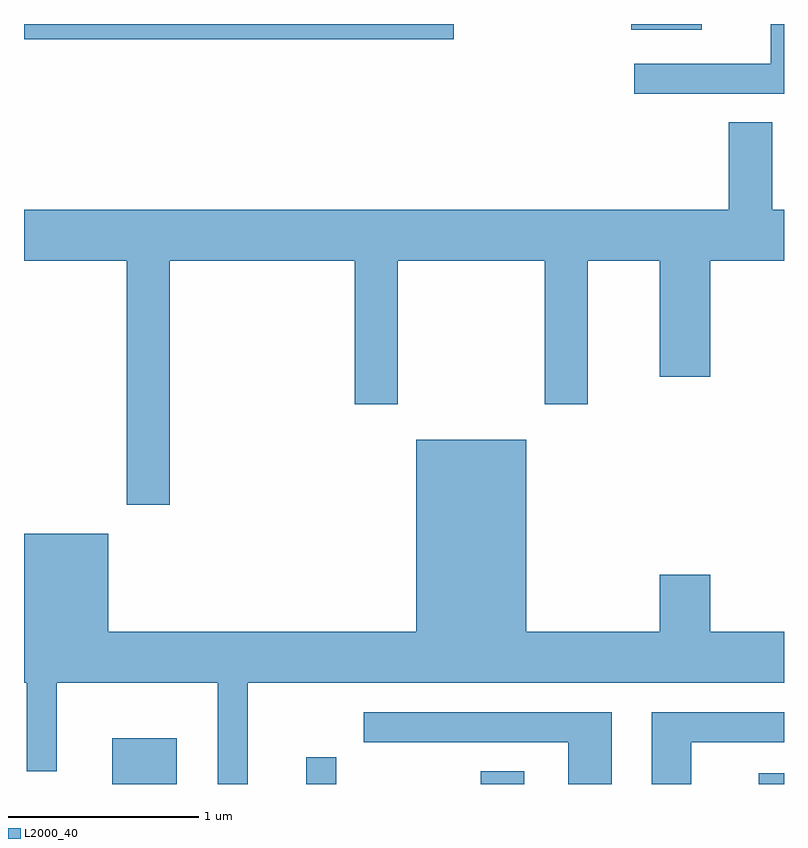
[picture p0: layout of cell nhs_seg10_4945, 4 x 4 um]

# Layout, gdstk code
import gdstk
lib = gdstk.Library(unit=1e-6, precision=1e-09)
def R(c, l, rs):  # rectangles x0, y0, x1, y1
    for r in rs: c.add(gdstk.rectangle(r[:2], r[2:], *l))
def P(c, l, *ps):  # polygons
    for p in ps: c.add(gdstk.Polygon(p, *l))
L2000_40 = (2000, 40)

nhs_seg10_4945 = lib.new_cell('nhs_seg10_4945')
R(nhs_seg10_4945, L2000_40, [(332.076,2084.522,332.414,2084.764), (333.096,2084.522,333.254,2084.663), (334.016,2084.522,334.244,2084.589), (335.478,2084.522,335.611,2084.579), (331.611,2088.441,333.874,2088.522), (334.806,2088.491,335.179,2088.522)])
P(nhs_seg10_4945, L2000_40, [(335.611,2088.522),(335.541,2088.522),(335.541,2088.314),(334.823,2088.314),(334.823,2088.156),(335.611,2088.156)],
  [(332.379,2087.276),(333.351,2087.276),(333.351,2086.521),(333.579,2086.521),(333.579,2087.276),(334.351,2087.276),(334.351,2086.521),(334.579,2086.521),(334.579,2087.276),(334.956,2087.276),(334.956,2086.666),(335.224,2086.666),(335.224,2087.276),(335.611,2087.276),(335.611,2087.544),(335.549,2087.544),(335.549,2088.004),(335.321,2088.004),(335.321,2087.544),(331.611,2087.544),(331.611,2087.276),(332.151,2087.276),(332.151,2085.991),(332.379,2085.991)],
  [(331.611,2085.056),(331.626,2085.056),(331.626,2084.588),(331.784,2084.588),(331.784,2085.056),(332.631,2085.056),(332.631,2084.522),(332.789,2084.522),(332.789,2085.056),(335.611,2085.056),(335.611,2085.324),(335.224,2085.324),(335.224,2085.624),(334.956,2085.624),(334.956,2085.324),(334.254,2085.324),(334.254,2086.334),(333.676,2086.334),(333.676,2085.324),(332.054,2085.324),(332.054,2085.839),(331.611,2085.839)],
  [(334.704,2084.899),(333.398,2084.899),(333.398,2084.741),(334.476,2084.741),(334.476,2084.522),(334.704,2084.522)],
  [(335.124,2084.741),(335.611,2084.741),(335.611,2084.899),(334.916,2084.899),(334.916,2084.522),(335.124,2084.522)])

lib.write_gds('nhs_seg10_4945.gds')
